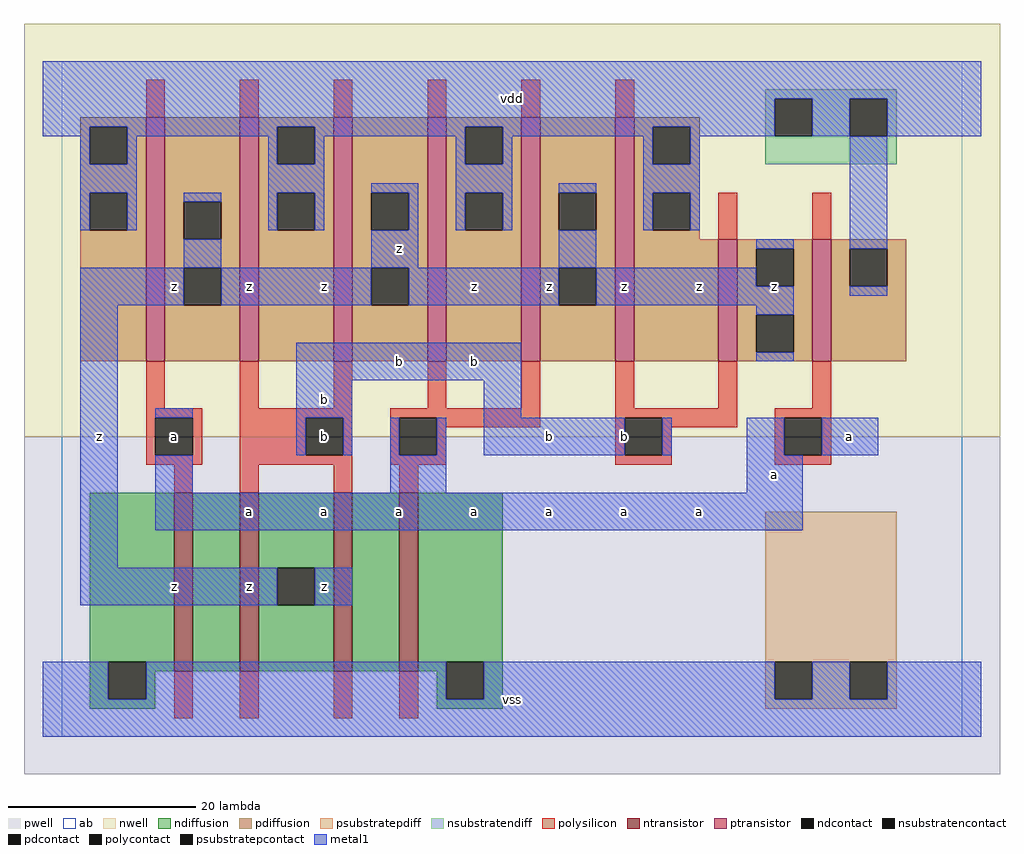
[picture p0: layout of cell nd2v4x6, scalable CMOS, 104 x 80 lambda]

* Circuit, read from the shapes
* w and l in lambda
.subckt nd2v4x6 a b vdd vss z
M1 n1 a vss vss nfet w=19 l=2
M2 z b n1 vss nfet w=19 l=2
M3 n2 b z vss nfet w=19 l=2
M4 vss a n2 vss nfet w=19 l=2
M5 z a vdd vdd pfet w=26 l=2 m=3
M6 vdd b z vdd pfet w=26 l=2 m=3
M7 z b vdd vdd pfet w=13 l=2
M8 vdd a z vdd pfet w=13 l=2
.ends

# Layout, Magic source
magic
tech scmos
<< ab >>
rect 0 0 96 72
<< pwell >>
rect -4 -4 100 32
<< nwell >>
rect -4 32 100 76
<< polysilicon >>
rect 9 66 11 70
rect 19 66 21 70
rect 29 66 31 70
rect 39 66 41 70
rect 49 66 51 70
rect 59 66 61 70
rect 70 53 72 58
rect 80 53 82 58
rect 9 35 11 40
rect 19 35 21 40
rect 29 35 31 40
rect 39 35 41 40
rect 49 35 51 40
rect 9 34 15 35
rect 9 30 10 34
rect 14 30 15 34
rect 9 29 15 30
rect 19 34 31 35
rect 19 30 26 34
rect 30 30 31 34
rect 19 29 31 30
rect 35 34 51 35
rect 35 30 36 34
rect 40 33 51 34
rect 59 35 61 40
rect 70 35 72 40
rect 80 35 82 40
rect 59 34 72 35
rect 40 30 41 33
rect 35 29 41 30
rect 59 30 60 34
rect 64 33 72 34
rect 76 34 82 35
rect 64 30 65 33
rect 59 29 65 30
rect 76 30 77 34
rect 81 30 82 34
rect 76 29 82 30
rect 12 26 14 29
rect 19 26 21 29
rect 29 26 31 29
rect 36 26 38 29
rect 12 2 14 7
rect 19 2 21 7
rect 29 2 31 7
rect 36 2 38 7
<< ndiffusion >>
rect 3 8 12 26
rect 3 4 5 8
rect 9 7 12 8
rect 14 7 19 26
rect 21 18 29 26
rect 21 14 23 18
rect 27 14 29 18
rect 21 7 29 14
rect 31 7 36 26
rect 38 8 47 26
rect 38 7 41 8
rect 9 4 10 7
rect 3 3 10 4
rect 40 4 41 7
rect 45 4 47 8
rect 40 3 47 4
<< pdiffusion >>
rect 2 65 9 66
rect 2 61 3 65
rect 7 61 9 65
rect 2 58 9 61
rect 2 54 3 58
rect 7 54 9 58
rect 2 40 9 54
rect 11 57 19 66
rect 11 53 13 57
rect 17 53 19 57
rect 11 50 19 53
rect 11 46 13 50
rect 17 46 19 50
rect 11 40 19 46
rect 21 65 29 66
rect 21 61 23 65
rect 27 61 29 65
rect 21 58 29 61
rect 21 54 23 58
rect 27 54 29 58
rect 21 40 29 54
rect 31 58 39 66
rect 31 54 33 58
rect 37 54 39 58
rect 31 50 39 54
rect 31 46 33 50
rect 37 46 39 50
rect 31 40 39 46
rect 41 65 49 66
rect 41 61 43 65
rect 47 61 49 65
rect 41 58 49 61
rect 41 54 43 58
rect 47 54 49 58
rect 41 40 49 54
rect 51 58 59 66
rect 51 54 53 58
rect 57 54 59 58
rect 51 50 59 54
rect 51 46 53 50
rect 57 46 59 50
rect 51 40 59 46
rect 61 65 68 66
rect 61 61 63 65
rect 67 61 68 65
rect 61 58 68 61
rect 61 54 63 58
rect 67 54 68 58
rect 61 53 68 54
rect 61 40 70 53
rect 72 52 80 53
rect 72 48 74 52
rect 78 48 80 52
rect 72 45 80 48
rect 72 41 74 45
rect 78 41 80 45
rect 72 40 80 41
rect 82 52 90 53
rect 82 48 84 52
rect 88 48 90 52
rect 82 40 90 48
<< metal1 >>
rect -2 68 98 72
rect -2 65 76 68
rect -2 64 3 65
rect 2 61 3 64
rect 7 64 23 65
rect 7 61 8 64
rect 2 58 8 61
rect 22 61 23 64
rect 27 64 43 65
rect 27 61 28 64
rect 22 58 28 61
rect 42 61 43 64
rect 47 64 63 65
rect 47 61 48 64
rect 2 54 3 58
rect 7 54 8 58
rect 13 57 17 58
rect 22 54 23 58
rect 27 54 28 58
rect 33 58 38 59
rect 37 54 38 58
rect 42 58 48 61
rect 62 61 63 64
rect 67 64 76 65
rect 80 64 84 68
rect 88 64 98 68
rect 67 61 68 64
rect 42 54 43 58
rect 47 54 48 58
rect 53 58 57 59
rect 62 58 68 61
rect 62 54 63 58
rect 67 54 68 58
rect 13 50 17 53
rect 33 50 38 54
rect 53 50 57 54
rect 74 52 78 53
rect 2 46 13 50
rect 17 46 33 50
rect 37 46 53 50
rect 57 48 74 50
rect 57 46 78 48
rect 84 52 88 64
rect 84 47 88 48
rect 2 18 6 46
rect 74 45 78 46
rect 25 38 49 42
rect 74 40 78 41
rect 10 34 14 35
rect 25 34 31 38
rect 45 34 49 38
rect 25 30 26 34
rect 30 30 31 34
rect 35 30 36 34
rect 40 30 41 34
rect 45 30 60 34
rect 64 30 65 34
rect 73 30 77 34
rect 81 30 87 34
rect 10 26 14 30
rect 35 26 41 30
rect 73 26 79 30
rect 10 22 79 26
rect 2 14 23 18
rect 27 14 31 18
rect -2 4 5 8
rect 9 4 41 8
rect 45 4 76 8
rect 80 4 84 8
rect 88 4 98 8
rect -2 0 98 4
<< ntransistor >>
rect 12 7 14 26
rect 19 7 21 26
rect 29 7 31 26
rect 36 7 38 26
<< ptransistor >>
rect 9 40 11 66
rect 19 40 21 66
rect 29 40 31 66
rect 39 40 41 66
rect 49 40 51 66
rect 59 40 61 66
rect 70 40 72 53
rect 80 40 82 53
<< polycontact >>
rect 10 30 14 34
rect 26 30 30 34
rect 36 30 40 34
rect 60 30 64 34
rect 77 30 81 34
<< ndcontact >>
rect 5 4 9 8
rect 23 14 27 18
rect 41 4 45 8
<< pdcontact >>
rect 3 61 7 65
rect 3 54 7 58
rect 13 53 17 57
rect 13 46 17 50
rect 23 61 27 65
rect 23 54 27 58
rect 33 54 37 58
rect 33 46 37 50
rect 43 61 47 65
rect 43 54 47 58
rect 53 54 57 58
rect 53 46 57 50
rect 63 61 67 65
rect 63 54 67 58
rect 74 48 78 52
rect 74 41 78 45
rect 84 48 88 52
<< psubstratepcontact >>
rect 76 4 80 8
rect 84 4 88 8
<< nsubstratencontact >>
rect 76 64 80 68
rect 84 64 88 68
<< psubstratepdiff >>
rect 75 8 89 24
rect 75 4 76 8
rect 80 4 84 8
rect 88 4 89 8
rect 75 3 89 4
<< nsubstratendiff >>
rect 75 68 89 69
rect 75 64 76 68
rect 80 64 84 68
rect 88 64 89 68
rect 75 61 89 64
<< labels >>
rlabel metal1 12 16 12 16 6 z
rlabel polycontact 12 32 12 32 6 a
rlabel metal1 4 32 4 32 6 z
rlabel metal1 12 48 12 48 6 z
rlabel metal1 28 16 28 16 6 z
rlabel metal1 20 16 20 16 6 z
rlabel metal1 20 24 20 24 6 a
rlabel metal1 28 24 28 24 6 a
rlabel polycontact 28 32 28 32 6 b
rlabel metal1 28 36 28 36 6 b
rlabel metal1 20 48 20 48 6 z
rlabel metal1 28 48 28 48 6 z
rlabel metal1 48 4 48 4 6 vss
rlabel metal1 36 24 36 24 6 a
rlabel metal1 44 24 44 24 6 a
rlabel metal1 52 24 52 24 6 a
rlabel metal1 52 32 52 32 6 b
rlabel metal1 36 40 36 40 6 b
rlabel metal1 44 40 44 40 6 b
rlabel metal1 36 52 36 52 6 z
rlabel metal1 44 48 44 48 6 z
rlabel metal1 52 48 52 48 6 z
rlabel metal1 48 68 48 68 6 vdd
rlabel metal1 60 24 60 24 6 a
rlabel metal1 68 24 68 24 6 a
rlabel metal1 76 28 76 28 6 a
rlabel metal1 60 32 60 32 6 b
rlabel metal1 60 48 60 48 6 z
rlabel metal1 68 48 68 48 6 z
rlabel metal1 76 48 76 48 6 z
rlabel metal1 84 32 84 32 6 a
<< end >>
